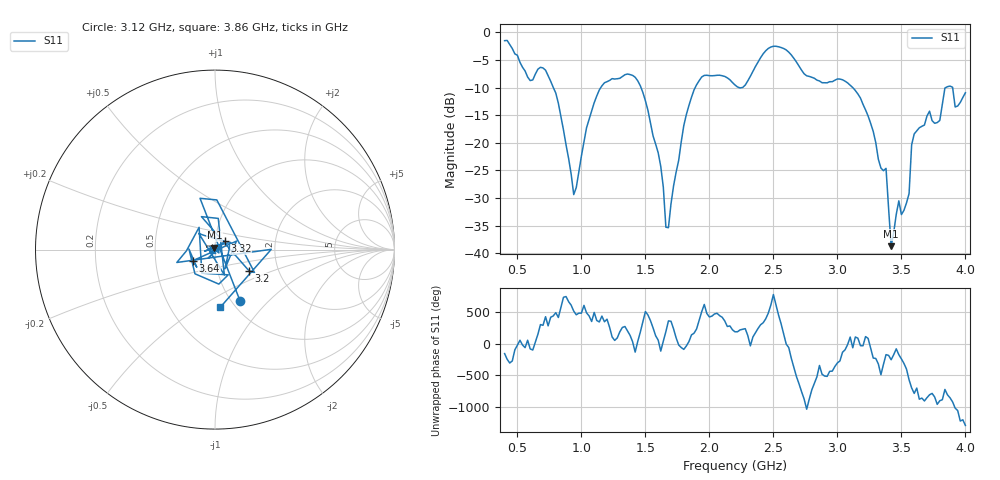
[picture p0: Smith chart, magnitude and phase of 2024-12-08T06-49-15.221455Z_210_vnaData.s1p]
!Created with skrf (http://scikit-rf.org).
# Hz S RI R 50.0
!freq ReS11 ImS11
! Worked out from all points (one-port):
!   181 points, 400 MHz to 4 GHz, reference 50 ohm
!   lowest |S11| = -38.7 dB at 3.42 GHz (marker M1), VSWR 1.02, Z = 49.6 + j1.1 ohm
!   |S11| at or under -10 dB: 780.7 MHz to 1.151 GHz (370.6 MHz wide, 38.4 % of centre); 1.466 GHz to 1.889 GHz (423.3 MHz wide, 25.2 % of centre); 3.12 GHz to 3.846 GHz (725.9 MHz wide, 20.8 % of centre) (the widest 3 of 5)
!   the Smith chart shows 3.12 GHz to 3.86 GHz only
!   S11 on the Smith chart (normalised r, x): 3.12 GHz: 1.09, -0.69; 3.2 GHz: 1.42, -0.35; 3.32 GHz: 1.11, +0.10; 3.64 GHz: 0.78, -0.10; 3.86 GHz: 0.86, -0.61
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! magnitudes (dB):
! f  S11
! 400 MHz  -1.5
! 600 MHz  -8.7
! 720 MHz  -6.9
! 860 MHz  -17.7
! 940 MHz  -29.4
! 1.12 GHz  -11.5
! 1.3 GHz  -8.3
! 1.48 GHz  -10.9
! 1.62 GHz  -24.3
! 1.66 GHz  -35.3
! 1.76 GHz  -23.2
! 1.94 GHz  -8.1
! 2.2 GHz  -9.5
! 2.48 GHz  -2.7
! 2.66 GHz  -4.7
! 3.1 GHz  -9.6
! 3.12 GHz  -10.0
! 3.2 GHz  -13.0
! 3.32 GHz  -23.0
! 3.38 GHz  -24.6
! 3.42 GHz  -38.7
! 3.48 GHz  -30.5
! 3.56 GHz  -29.2
! 3.58 GHz  -20.4
! 3.64 GHz  -17.3
! 3.8 GHz  -15.9
! 3.86 GHz  -9.8
! 4 GHz  -10.9
